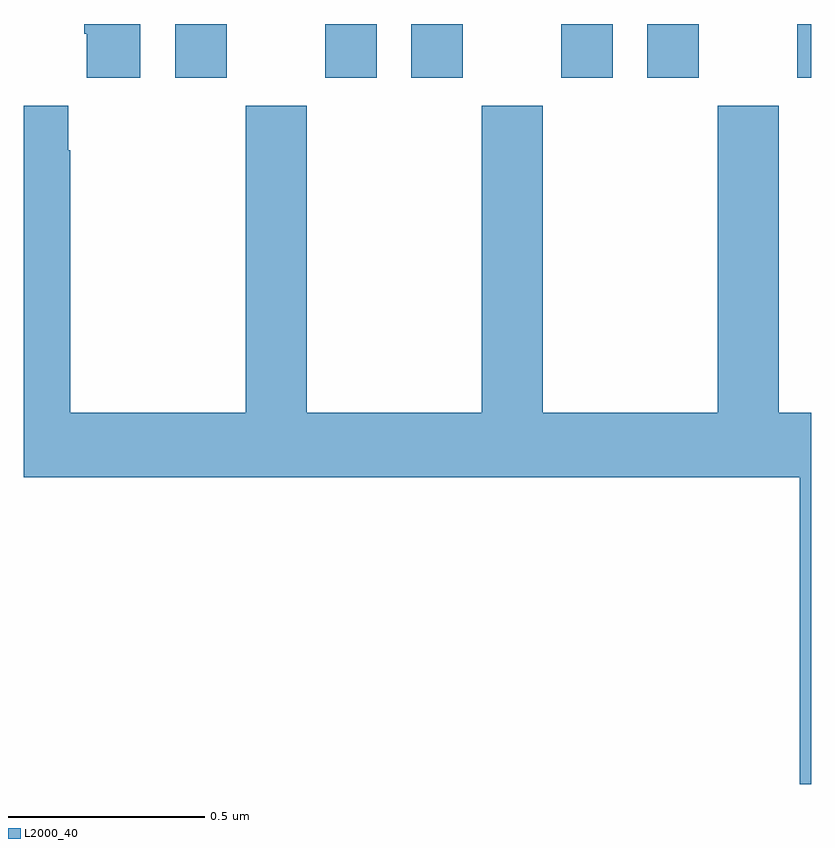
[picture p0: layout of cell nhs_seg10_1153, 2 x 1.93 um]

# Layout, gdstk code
import gdstk
lib = gdstk.Library(unit=1e-6, precision=1e-09)
def R(c, l, rs):  # rectangles x0, y0, x1, y1
    for r in rs: c.add(gdstk.rectangle(r[:2], r[2:], *l))
def P(c, l, *ps):  # polygons
    for p in ps: c.add(gdstk.Polygon(p, *l))
L2000_40 = (2000, 40)

nhs_seg10_1153 = lib.new_cell('nhs_seg10_1153')
R(nhs_seg10_1153, L2000_40, [(125.384,1269.363,125.515,1269.5), (125.765,1269.363,125.896,1269.5), (125.984,1269.363,126.115,1269.5), (126.365,1269.363,126.496,1269.5), (126.584,1269.363,126.715,1269.5), (126.965,1269.363,127,1269.5)])
P(nhs_seg10_1153, L2000_40, [(125.296,1269.5),(125.153,1269.5),(125.153,1269.475),(125.159,1269.475),(125.159,1269.363),(125.296,1269.363)],
  [(127,1268.512),(126.918,1268.512),(126.918,1269.292),(126.763,1269.292),(126.763,1268.512),(126.318,1268.512),(126.318,1269.292),(126.163,1269.292),(126.163,1268.512),(125.718,1268.512),(125.718,1269.292),(125.563,1269.292),(125.563,1268.512),(125.118,1268.512),(125.118,1269.179),(125.113,1269.179),(125.113,1269.292),(125,1269.292),(125,1268.348),(126.971,1268.348),(126.971,1267.569),(127,1267.569)])

lib.write_gds('nhs_seg10_1153.gds')
